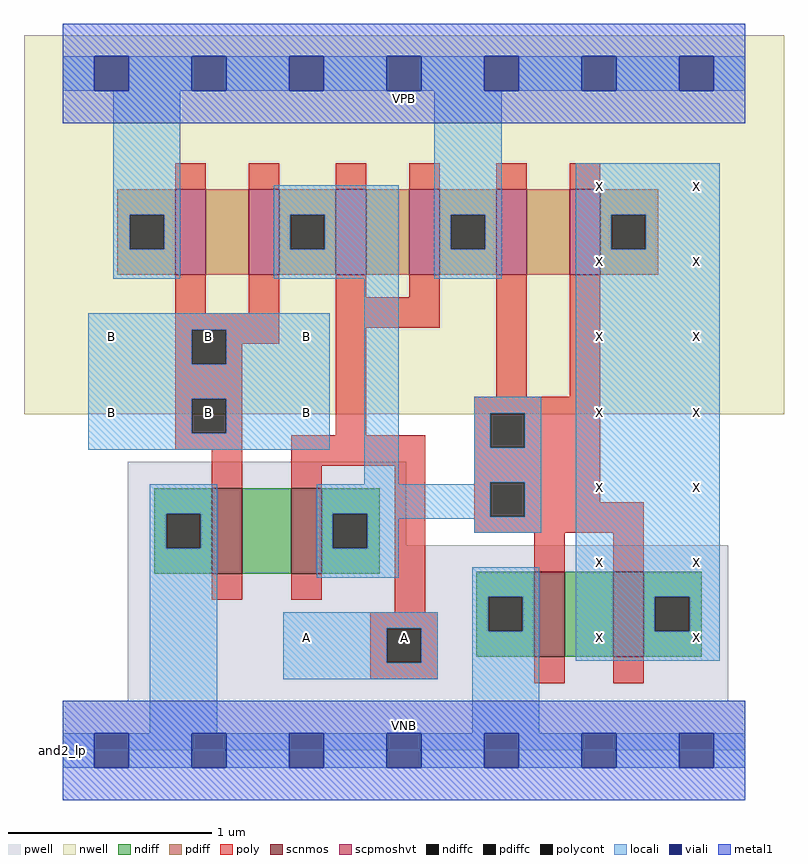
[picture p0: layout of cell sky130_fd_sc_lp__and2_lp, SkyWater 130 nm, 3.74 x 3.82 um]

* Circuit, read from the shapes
.subckt sky130_fd_sc_lp__and2_lp A B VGND VNB VPB VPWR X
XM1 n1 B VGND VNB sky130_fd_pr__nfet_01v8 w=0.42 l=0.15
XM2 n2 A n1 VNB sky130_fd_pr__nfet_01v8 w=0.42 l=0.15
XM3 n3 n2 VGND VNB sky130_fd_pr__nfet_01v8 w=0.42 l=0.15
XM4 X n2 n3 VNB sky130_fd_pr__nfet_01v8 w=0.42 l=0.15
XM5 n4 B VPWR VPB sky130_fd_pr__pfet_01v8_hvt w=0.42 l=0.15
XM6 n2 B n4 VPB sky130_fd_pr__pfet_01v8_hvt w=0.42 l=0.15
XM7 n5 A n2 VPB sky130_fd_pr__pfet_01v8_hvt w=0.42 l=0.15
XM8 VPWR A n5 VPB sky130_fd_pr__pfet_01v8_hvt w=0.42 l=0.15
XM9 n6 n2 VPWR VPB sky130_fd_pr__pfet_01v8_hvt w=0.42 l=0.15
XM10 X n2 n6 VPB sky130_fd_pr__pfet_01v8_hvt w=0.42 l=0.15
.ends

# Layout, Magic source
magic
tech sky130A
magscale 1 2
<< nwell >>
rect -38 331 710 704
<< pwell >>
rect 64 202 338 284
rect 64 49 655 202
rect 0 0 672 49
<< scnmos >>
rect 147 174 177 258
rect 225 174 255 258
rect 464 92 494 176
rect 542 92 572 176
<< scpmoshvt >>
rect 111 468 141 552
rect 183 468 213 552
rect 269 468 299 552
rect 341 468 371 552
rect 427 468 457 552
rect 499 468 529 552
<< ndiff >>
rect 90 233 147 258
rect 90 199 102 233
rect 136 199 147 233
rect 90 174 147 199
rect 177 174 225 258
rect 255 233 312 258
rect 255 199 266 233
rect 300 199 312 233
rect 255 174 312 199
rect 407 151 464 176
rect 407 117 419 151
rect 453 117 464 151
rect 407 92 464 117
rect 494 92 542 176
rect 572 151 629 176
rect 572 117 583 151
rect 617 117 629 151
rect 572 92 629 117
<< pdiff >>
rect 54 527 111 552
rect 54 493 66 527
rect 100 493 111 527
rect 54 468 111 493
rect 141 468 183 552
rect 213 527 269 552
rect 213 493 224 527
rect 258 493 269 527
rect 213 468 269 493
rect 299 468 341 552
rect 371 527 427 552
rect 371 493 382 527
rect 416 493 427 527
rect 371 468 427 493
rect 457 468 499 552
rect 529 527 586 552
rect 529 493 540 527
rect 574 493 586 527
rect 529 468 586 493
<< ndiffc >>
rect 102 199 136 233
rect 266 199 300 233
rect 419 117 453 151
rect 583 117 617 151
<< pdiffc >>
rect 66 493 100 527
rect 224 493 258 527
rect 382 493 416 527
rect 540 493 574 527
<< poly >>
rect 111 552 141 578
rect 183 552 213 578
rect 269 552 299 578
rect 341 552 371 578
rect 427 552 457 578
rect 499 552 529 578
rect 111 430 141 468
rect 183 430 213 468
rect 111 414 213 430
rect 111 380 127 414
rect 161 400 213 414
rect 269 446 299 468
rect 341 446 371 468
rect 269 416 371 446
rect 161 380 177 400
rect 111 346 177 380
rect 111 312 127 346
rect 161 312 177 346
rect 111 296 177 312
rect 269 310 299 416
rect 427 348 457 468
rect 499 348 529 468
rect 405 332 529 348
rect 147 258 177 296
rect 225 280 357 310
rect 225 258 255 280
rect 147 148 177 174
rect 225 148 255 174
rect 327 136 357 280
rect 405 298 421 332
rect 455 298 529 332
rect 405 264 529 298
rect 405 230 421 264
rect 455 244 529 264
rect 455 230 572 244
rect 405 214 572 230
rect 464 176 494 214
rect 542 176 572 214
rect 303 120 369 136
rect 303 86 319 120
rect 353 86 369 120
rect 303 70 369 86
rect 464 66 494 92
rect 542 66 572 92
<< polycont >>
rect 127 380 161 414
rect 127 312 161 346
rect 421 298 455 332
rect 421 230 455 264
rect 319 86 353 120
<< locali >>
rect 0 649 31 683
rect 65 649 127 683
rect 161 649 223 683
rect 257 649 319 683
rect 353 649 415 683
rect 449 649 511 683
rect 545 649 607 683
rect 641 649 672 683
rect 50 527 116 649
rect 50 493 66 527
rect 100 493 116 527
rect 50 464 116 493
rect 208 527 331 556
rect 208 493 224 527
rect 258 493 331 527
rect 208 464 331 493
rect 366 527 432 649
rect 366 493 382 527
rect 416 493 432 527
rect 366 464 432 493
rect 505 527 647 578
rect 505 493 540 527
rect 574 493 647 527
rect 25 414 263 430
rect 25 380 127 414
rect 161 380 263 414
rect 25 346 263 380
rect 25 312 127 346
rect 161 312 263 346
rect 25 296 263 312
rect 297 262 331 464
rect 405 332 471 348
rect 405 298 421 332
rect 455 298 471 332
rect 405 264 471 298
rect 405 262 421 264
rect 86 233 152 262
rect 86 199 102 233
rect 136 199 152 233
rect 86 17 152 199
rect 250 233 421 262
rect 250 199 266 233
rect 300 230 421 233
rect 455 230 471 264
rect 300 228 471 230
rect 300 199 331 228
rect 405 214 471 228
rect 250 170 331 199
rect 403 151 469 180
rect 217 120 369 136
rect 217 86 319 120
rect 353 86 369 120
rect 217 70 369 86
rect 403 117 419 151
rect 453 117 469 151
rect 403 17 469 117
rect 505 151 647 493
rect 505 117 583 151
rect 617 117 647 151
rect 505 88 647 117
rect 0 -17 31 17
rect 65 -17 127 17
rect 161 -17 223 17
rect 257 -17 319 17
rect 353 -17 415 17
rect 449 -17 511 17
rect 545 -17 607 17
rect 641 -17 672 17
<< viali >>
rect 31 649 65 683
rect 127 649 161 683
rect 223 649 257 683
rect 319 649 353 683
rect 415 649 449 683
rect 511 649 545 683
rect 607 649 641 683
rect 31 -17 65 17
rect 127 -17 161 17
rect 223 -17 257 17
rect 319 -17 353 17
rect 415 -17 449 17
rect 511 -17 545 17
rect 607 -17 641 17
<< metal1 >>
rect 0 683 672 715
rect 0 649 31 683
rect 65 649 127 683
rect 161 649 223 683
rect 257 649 319 683
rect 353 649 415 683
rect 449 649 511 683
rect 545 649 607 683
rect 641 649 672 683
rect 0 617 672 649
rect 0 17 672 49
rect 0 -17 31 17
rect 65 -17 127 17
rect 161 -17 223 17
rect 257 -17 319 17
rect 353 -17 415 17
rect 449 -17 511 17
rect 545 -17 607 17
rect 641 -17 672 17
rect 0 -49 672 -17
<< labels >>
flabel pwell s 0 0 672 49 0 FreeSans 200 0 0 0 VNB
port 4 nsew ground bidirectional
flabel nwell s 0 617 672 666 0 FreeSans 200 0 0 0 VPB
port 5 nsew power bidirectional
rlabel comment s 0 0 0 0 4 and2_lp
flabel metal1 s 0 617 672 666 0 FreeSans 340 0 0 0 VPWR
port 6 nsew power bidirectional
flabel metal1 s 0 0 672 49 0 FreeSans 340 0 0 0 VGND
port 3 nsew ground bidirectional
flabel locali s 223 94 257 128 0 FreeSans 340 0 0 0 A
port 1 nsew signal input
flabel locali s 319 94 353 128 0 FreeSans 340 0 0 0 A
port 1 nsew signal input
flabel locali s 31 316 65 350 0 FreeSans 340 0 0 0 B
port 2 nsew signal input
flabel locali s 31 390 65 424 0 FreeSans 340 0 0 0 B
port 2 nsew signal input
flabel locali s 127 316 161 350 0 FreeSans 340 0 0 0 B
port 2 nsew signal input
flabel locali s 127 390 161 424 0 FreeSans 340 0 0 0 B
port 2 nsew signal input
flabel locali s 223 316 257 350 0 FreeSans 340 0 0 0 B
port 2 nsew signal input
flabel locali s 223 390 257 424 0 FreeSans 340 0 0 0 B
port 2 nsew signal input
flabel locali s 511 94 545 128 0 FreeSans 340 0 0 0 X
port 7 nsew signal output
flabel locali s 511 168 545 202 0 FreeSans 340 0 0 0 X
port 7 nsew signal output
flabel locali s 511 242 545 276 0 FreeSans 340 0 0 0 X
port 7 nsew signal output
flabel locali s 511 316 545 350 0 FreeSans 340 0 0 0 X
port 7 nsew signal output
flabel locali s 511 390 545 424 0 FreeSans 340 0 0 0 X
port 7 nsew signal output
flabel locali s 511 464 545 498 0 FreeSans 340 0 0 0 X
port 7 nsew signal output
flabel locali s 511 538 545 572 0 FreeSans 340 0 0 0 X
port 7 nsew signal output
flabel locali s 607 94 641 128 0 FreeSans 340 0 0 0 X
port 7 nsew signal output
flabel locali s 607 168 641 202 0 FreeSans 340 0 0 0 X
port 7 nsew signal output
flabel locali s 607 242 641 276 0 FreeSans 340 0 0 0 X
port 7 nsew signal output
flabel locali s 607 316 641 350 0 FreeSans 340 0 0 0 X
port 7 nsew signal output
flabel locali s 607 390 641 424 0 FreeSans 340 0 0 0 X
port 7 nsew signal output
flabel locali s 607 464 641 498 0 FreeSans 340 0 0 0 X
port 7 nsew signal output
flabel locali s 607 538 641 572 0 FreeSans 340 0 0 0 X
port 7 nsew signal output
<< properties >>
string LEFsite unit
string LEFclass CORE
string FIXED_BBOX 0 0 672 666
string GDS_FILE $PDKPATH/libs.ref/sky130_fd_sc_lp/gds/sky130_fd_sc_lp.gds
string LEFsymmetry X Y R90
string GDS_END 3544974
string GDS_START 3537708
<< end >>
